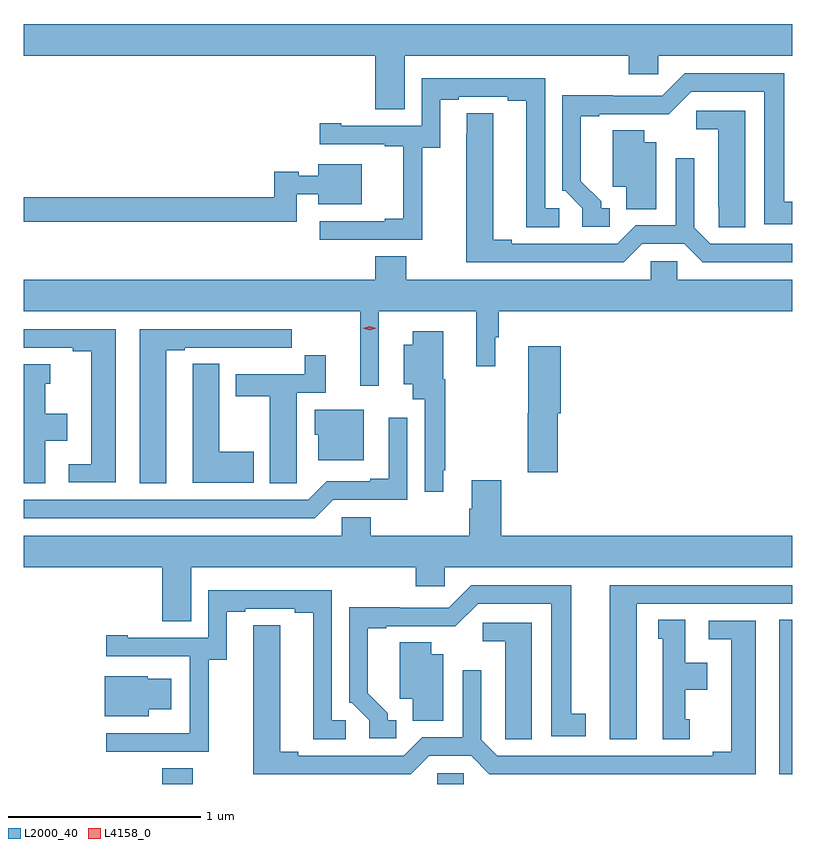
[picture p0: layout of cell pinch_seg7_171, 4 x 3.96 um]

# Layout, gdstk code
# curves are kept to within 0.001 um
import gdstk
lib = gdstk.Library(unit=1e-6, precision=1e-09)
def R(c, l, rs):  # rectangles x0, y0, x1, y1
    for r in rs: c.add(gdstk.rectangle(r[:2], r[2:], *l))
def P(c, l, *ps):  # polygons
    for p in ps: c.add(gdstk.Polygon(p, *l))
L2000_40 = (2000, 40)
L4158_0 = (4158, 0)

pinch_seg7_171 = lib.new_cell('pinch_seg7_171')
R(pinch_seg7_171, L2000_40, [(1115.597,1014.141,1115.757,1014.224), (1117.029,1014.141,1117.167,1014.198), (1118.81,1014.192,1118.877,1014.995)])
P(pinch_seg7_171, L2000_40, [(1116.859,1017.932),(1118.027,1017.932),(1118.027,1017.834),(1118.178,1017.834),(1118.178,1017.932),(1118.877,1017.932),(1118.877,1018.096),(1114.877,1018.096),(1114.877,1017.932),(1116.707,1017.932),(1116.707,1017.652),(1116.859,1017.652)],
  [(1117.927,1017.138),(1117.882,1017.138),(1117.882,1017.173),(1117.777,1017.278),(1117.777,1017.615),(1117.873,1017.615),(1117.873,1017.627),(1118.234,1017.626),(1118.352,1017.744),(1118.732,1017.744),(1118.732,1017.054),(1118.877,1017.054),(1118.877,1017.17),(1118.836,1017.17),(1118.836,1017.84),(1118.316,1017.84),(1118.199,1017.723),(1117.943,1017.723),(1117.943,1017.725),(1117.68,1017.725),(1117.68,1017.228),(1117.695,1017.228),(1117.785,1017.138),(1117.785,1017.042),(1117.927,1017.042)],
  [(1116.951,1017.451),(1117.045,1017.451),(1117.045,1017.702),(1117.141,1017.702),(1117.141,1017.717),(1117.397,1017.717),(1117.397,1017.697),(1117.493,1017.697),(1117.493,1017.037),(1117.663,1017.037),(1117.663,1017.138),(1117.59,1017.138),(1117.59,1017.813),(1116.948,1017.813),(1116.948,1017.567),(1116.529,1017.567),(1116.529,1017.58),(1116.417,1017.58),(1116.417,1017.471),(1116.755,1017.471),(1116.755,1017.459),(1116.851,1017.459),(1116.851,1017.082),(1116.755,1017.082),(1116.755,1017.069),(1116.417,1017.069),(1116.417,1016.973),(1116.951,1016.973)],
  [(1118.632,1017.645),(1118.376,1017.645),(1118.376,1017.548),(1118.492,1017.548),(1118.492,1017.145),(1118.493,1017.145),(1118.493,1017.037),(1118.632,1017.037)],
  [(1118.097,1016.952),(1118.315,1016.952),(1118.411,1016.856),(1118.877,1016.856),(1118.877,1016.952),(1118.451,1016.952),(1118.367,1017.036),(1118.367,1017.397),(1118.271,1017.397),(1118.271,1017.048),(1118.061,1017.048),(1117.965,1016.952),(1117.417,1016.952),(1117.417,1016.972),(1117.321,1016.972),(1117.321,1017.632),(1117.182,1017.632),(1117.181,1016.856),(1118.001,1016.856)],
  [(1118.17,1017.481),(1118.107,1017.481),(1118.107,1017.542),(1117.943,1017.542),(1117.943,1017.248),(1118.012,1017.248),(1118.012,1017.133),(1118.17,1017.133)],
  [(1116.297,1017.209),(1116.41,1017.209),(1116.41,1017.158),(1116.637,1017.158),(1116.637,1017.367),(1116.41,1017.367),(1116.41,1017.307),(1116.309,1017.307),(1116.309,1017.326),(1116.181,1017.326),(1116.181,1017.194),(1114.877,1017.194),(1114.877,1017.066),(1116.297,1017.066)],
  [(1116.726,1016.6),(1117.232,1016.6),(1117.232,1016.316),(1117.33,1016.316),(1117.33,1016.466),(1117.349,1016.466),(1117.349,1016.6),(1118.877,1016.6),(1118.877,1016.764),(1118.277,1016.764),(1118.277,1016.862),(1118.139,1016.862),(1118.139,1016.764),(1116.867,1016.764),(1116.867,1016.888),(1116.707,1016.888),(1116.707,1016.764),(1114.877,1016.764),(1114.877,1016.6),(1116.629,1016.6),(1116.629,1016.214),(1116.726,1016.214)],
  [(1115.356,1016.508),(1114.877,1016.508),(1114.877,1016.412),(1115.132,1016.412),(1115.132,1016.392),(1115.228,1016.392),(1115.228,1015.806),(1115.112,1015.806),(1115.112,1015.71),(1115.356,1015.71)],
  [(1115.62,1016.397),(1115.716,1016.397),(1115.716,1016.412),(1115.992,1016.412),(1115.992,1016.411),(1116.158,1016.411),(1116.158,1016.412),(1116.271,1016.412),(1116.271,1016.508),(1115.48,1016.508),(1115.48,1015.705),(1115.62,1015.705)],
  [(1117.06,1015.774),(1117.072,1015.774),(1117.072,1016.248),(1117.06,1016.248),(1117.06,1016.497),(1116.902,1016.497),(1116.902,1016.428),(1116.854,1016.428),(1116.854,1016.222),(1116.902,1016.222),(1116.902,1016.144),(1116.963,1016.144),(1116.963,1015.662),(1117.06,1015.662)],
  [(1117.655,1016.07),(1117.673,1016.07),(1117.673,1016.419),(1117.502,1016.419),(1117.502,1016.07),(1117.501,1016.07),(1117.501,1015.764),(1117.655,1015.764)],
  [(1116.297,1015.816),(1116.298,1015.816),(1116.298,1016.178),(1116.449,1016.178),(1116.449,1016.371),(1116.34,1016.371),(1116.34,1016.274),(1115.981,1016.274),(1115.981,1016.158),(1116.158,1016.158),(1116.158,1015.705),(1116.297,1015.705)],
  [(1116.073,1015.869),(1115.896,1015.869),(1115.896,1016.327),(1115.757,1016.327),(1115.757,1016.219),(1115.756,1016.219),(1115.756,1015.709),(1116.073,1015.709)],
  [(1114.99,1015.928),(1115.104,1015.928),(1115.104,1016.068),(1114.99,1016.068),(1114.99,1016.223),(1115.014,1016.223),(1115.014,1016.326),(1114.877,1016.326),(1114.877,1015.705),(1114.99,1015.705)],
  [(1116.646,1016.089),(1116.392,1016.089),(1116.392,1015.959),(1116.41,1015.959),(1116.41,1015.826),(1116.646,1015.826)],
  [(1116.489,1015.62),(1116.873,1015.62),(1116.873,1016.047),(1116.776,1016.047),(1116.776,1015.729),(1116.68,1015.729),(1116.68,1015.716),(1116.453,1015.716),(1116.357,1015.62),(1114.877,1015.62),(1114.877,1015.524),(1116.393,1015.524)],
  [(1115.749,1015.268),(1116.917,1015.268),(1116.917,1015.17),(1117.068,1015.17),(1117.068,1015.268),(1118.877,1015.268),(1118.877,1015.432),(1117.361,1015.432),(1117.361,1015.723),(1117.208,1015.723),(1117.208,1015.574),(1117.196,1015.574),(1117.196,1015.432),(1116.683,1015.432),(1116.683,1015.53),(1116.531,1015.53),(1116.531,1015.432),(1114.877,1015.432),(1114.877,1015.268),(1115.597,1015.268),(1115.597,1014.988),(1115.749,1014.988)],
  [(1116.817,1014.474),(1116.772,1014.474),(1116.772,1014.509),(1116.667,1014.614),(1116.667,1014.951),(1116.763,1014.951),(1116.763,1014.963),(1117.124,1014.962),(1117.242,1015.08),(1117.622,1015.08),(1117.622,1014.39),(1117.801,1014.39),(1117.801,1014.506),(1117.726,1014.506),(1117.726,1015.176),(1117.206,1015.176),(1117.089,1015.059),(1116.833,1015.059),(1116.833,1015.061),(1116.57,1015.061),(1116.57,1014.564),(1116.585,1014.564),(1116.675,1014.474),(1116.675,1014.378),(1116.817,1014.378)],
  [(1118.068,1015.08),(1118.877,1015.08),(1118.877,1015.176),(1117.928,1015.176),(1117.928,1014.375),(1118.068,1014.375)],
  [(1115.841,1014.787),(1115.935,1014.787),(1115.935,1015.038),(1116.031,1015.038),(1116.031,1015.053),(1116.287,1015.053),(1116.287,1015.033),(1116.383,1015.033),(1116.383,1014.373),(1116.553,1014.373),(1116.553,1014.474),(1116.48,1014.474),(1116.48,1015.149),(1115.838,1015.149),(1115.838,1014.903),(1115.419,1014.903),(1115.419,1014.916),(1115.307,1014.916),(1115.307,1014.807),(1115.742,1014.807),(1115.742,1014.405),(1115.307,1014.405),(1115.307,1014.309),(1115.841,1014.309)],
  [(1118.344,1014.477),(1118.32,1014.477),(1118.32,1014.632),(1118.434,1014.632),(1118.434,1014.772),(1118.32,1014.772),(1118.32,1014.995),(1118.18,1014.995),(1118.18,1014.897),(1118.204,1014.897),(1118.204,1014.375),(1118.344,1014.375)],
  [(1116.987,1014.288),(1117.205,1014.288),(1117.301,1014.192),(1118.686,1014.192),(1118.686,1014.99),(1118.442,1014.99),(1118.442,1014.894),(1118.558,1014.894),(1118.558,1014.308),(1118.462,1014.308),(1118.462,1014.288),(1117.341,1014.288),(1117.257,1014.372),(1117.257,1014.733),(1117.161,1014.733),(1117.161,1014.384),(1116.951,1014.384),(1116.855,1014.288),(1116.307,1014.288),(1116.307,1014.308),(1116.211,1014.308),(1116.211,1014.968),(1116.072,1014.968),(1116.071,1014.192),(1116.891,1014.192)],
  [(1117.522,1014.981),(1117.266,1014.981),(1117.266,1014.884),(1117.382,1014.884),(1117.382,1014.481),(1117.383,1014.481),(1117.383,1014.373),(1117.522,1014.373)],
  [(1117.06,1014.817),(1116.997,1014.817),(1116.997,1014.878),(1116.833,1014.878),(1116.833,1014.584),(1116.902,1014.584),(1116.902,1014.469),(1117.06,1014.469)],
  [(1115.527,1014.53),(1115.644,1014.53),(1115.644,1014.688),(1115.523,1014.688),(1115.523,1014.703),(1115.3,1014.703),(1115.3,1014.494),(1115.527,1014.494)])
P(pinch_seg7_171, L4158_0, [(1116.678,1016.503),(1116.642,1016.512),(1116.642,1016.513),(1116.642,1016.513),(1116.678,1016.523),(1116.713,1016.513),(1116.713,1016.513),(1116.713,1016.512)])

lib.write_gds('pinch_seg7_171.gds')
